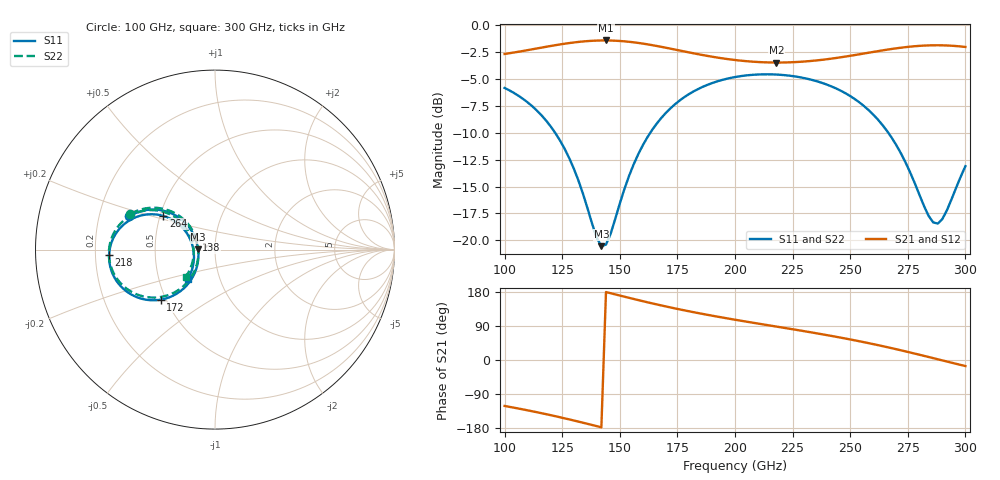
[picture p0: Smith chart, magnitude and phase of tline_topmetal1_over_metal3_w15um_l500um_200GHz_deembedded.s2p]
! Created with skrf 2.0.1 (http://scikit-rf.org).
# GHz S DB R 50.0
!freq dBS11 angS11 dBS21 angS21 dBS12 angS12 dBS22 angS22
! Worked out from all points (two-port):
!   101 points, 100 GHz to 300 GHz, reference 50 ohm
!   highest |S21| = -1.40 dB at 144 GHz (marker M1); lowest = -3.5 dB at 218 GHz (marker M2)
!   |S21| within 3 dB of the highest: start of sweep to end of sweep
!   lowest |S11| = -20.5 dB at 142 GHz (marker M3), VSWR 1.21, Z = 41.4 + j0.119 ohm
!   |S11| at or under -10 dB: 122 GHz to 163.2 GHz (41.23 GHz wide, 28.9 % of centre); 266.6 GHz to end of sweep
!   |S22| runs from -20.6 to -4.6 dB; largest |S21 - S12| = 9.5e-14
!   S11 on the Smith chart (normalised r, x): 100 GHz: 0.33, +0.17; 138 GHz: 0.80, +0.09; 172 GHz: 0.47, -0.31; 218 GHz: 0.26, -0.02; 264 GHz: 0.52, +0.22; 300 GHz: 0.70, -0.24
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100  -5.82 158.7  -2.65 -121.3  -2.65 -121.3  -5.82 157.2
110  -7.16 149.7  -2.30 -132.8  -2.30 -132.8  -7.17 148.1
120  -9.40 141.6  -1.91 -145.6  -1.91 -145.6  -9.41 139.8
128  -12.33 138.0  -1.64 -156.7  -1.64 -156.7  -12.34 136.0
134  -15.65 141.6  -1.49 -165.5  -1.49 -165.5  -15.68 139.5
138  -18.47 153.0  -1.43 -171.5  -1.43 -171.5  -18.51 150.8
142  -20.54 179.1  -1.40 -177.6  -1.40 -177.6  -20.60 177.0
144  -20.39 -164.4  -1.40 179.3  -1.40 179.3  -20.45 -166.4
156  -12.94 -128.2  -1.57 161.1  -1.57 161.1  -12.95 -130.3
168  -8.61 -134.0  -1.99 144.0  -1.99 144.0  -8.62 -136.3
172  -7.71 -137.3  -2.16 138.7  -2.16 138.7  -7.72 -139.8
184  -5.92 -148.1  -2.67 123.9  -2.67 123.9  -5.92 -150.8
200  -4.80 -162.2  -3.22 106.3  -3.22 106.3  -4.81 -165.0
218  -4.57 -177.0  -3.45 88.2  -3.45 88.2  -4.58 179.8
234  -5.10 170.0  -3.28 71.9  -3.28 71.9  -5.11 166.6
250  -6.57 156.9  -2.83 54.2  -2.83 54.2  -6.58 153.3
264  -9.26 146.9  -2.32 36.7  -2.32 36.7  -9.27 143.1
268  -10.45 145.2  -2.19 31.2  -2.19 31.2  -10.46 141.3
278  -14.67 149.3  -1.93 16.9  -1.93 16.9  -14.69 145.2
286  -18.33 178.1  -1.85 5.0  -1.85 5.0  -18.35 173.9
290  -18.02 -158.8  -1.85 -1.1  -1.85 -1.1  -18.04 -163.0
300  -13.10 -133.0  -2.00 -16.0  -2.00 -16.0  -13.11 -137.3
